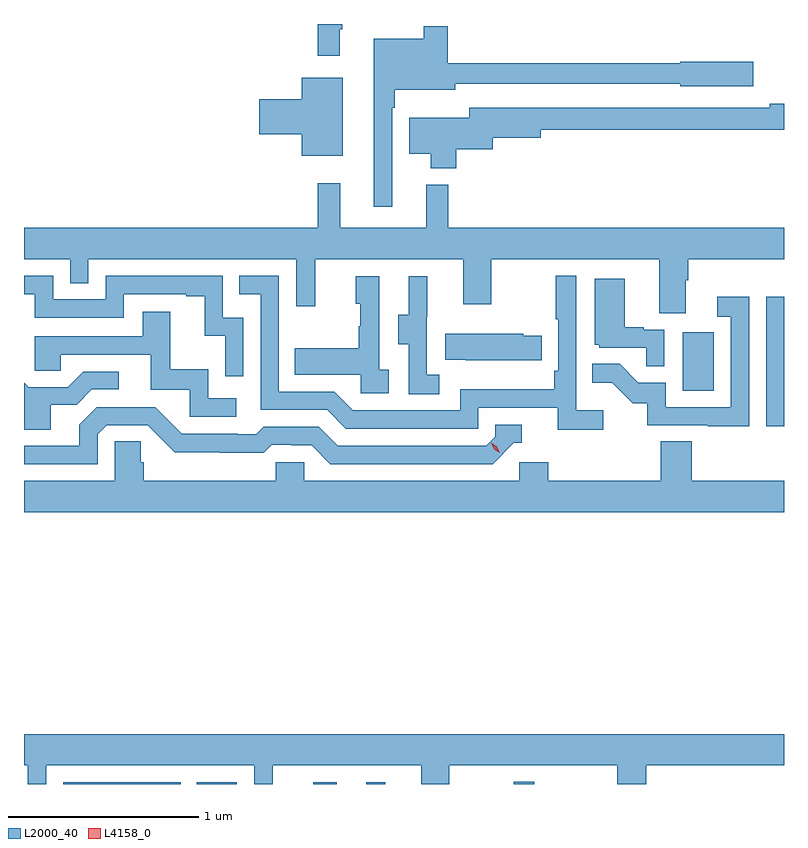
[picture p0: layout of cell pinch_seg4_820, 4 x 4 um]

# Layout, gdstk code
import gdstk
lib = gdstk.Library(unit=1e-6, precision=1e-09)
def R(c, l, rs):  # rectangles x0, y0, x1, y1
    for r in rs: c.add(gdstk.rectangle(r[:2], r[2:], *l))
def P(c, l, *ps):  # polygons
    for p in ps: c.add(gdstk.Polygon(p, *l))
L2000_40 = (2000, 40)
L4158_0 = (4158, 0)

pinch_seg4_820 = lib.new_cell('pinch_seg4_820')
R(pinch_seg4_820, L2000_40, [(817.224,800.717,817.842,800.727), (817.927,800.717,818.136,800.727), (818.54,800.717,818.664,800.725), (818.819,800.717,818.918,800.725), (819.594,800.717,819.702,800.728), (820.923,802.6,821.017,803.281), (820.484,802.788,820.648,803.095)])
P(pinch_seg4_820, L2000_40, [(818.68,804.689),(818.692,804.689),(818.692,804.717),(818.563,804.717),(818.563,804.549),(818.68,804.549)],
  [(818.955,804.275),(818.968,804.275),(818.968,804.371),(819.288,804.371),(819.288,804.402),(820.47,804.402),(820.47,804.389),(820.855,804.389),(820.855,804.519),(820.47,804.519),(820.47,804.511),(819.248,804.511),(819.248,804.706),(819.12,804.706),(819.12,804.64),(818.858,804.64),(818.858,803.754),(818.955,803.754)],
  [(818.695,804.433),(818.48,804.433),(818.48,804.32),(818.256,804.32),(818.256,804.137),(818.48,804.137),(818.48,804.023),(818.695,804.023)],
  [(819.293,804.058),(819.484,804.058),(819.484,804.118),(819.736,804.118),(819.736,804.16),(821.017,804.16),(821.017,804.296),(820.942,804.296),(820.942,804.276),(819.632,804.276),(819.632,804.277),(819.36,804.277),(819.36,804.223),(819.044,804.223),(819.044,804.035),(819.158,804.035),(819.158,803.957),(819.293,803.957)],
  [(820.501,803.368),(820.514,803.368),(820.514,803.48),(821.017,803.48),(821.017,803.644),(819.251,803.644),(819.251,803.872),(819.134,803.872),(819.134,803.644),(818.681,803.644),(818.681,803.878),(818.563,803.878),(818.563,803.644),(817.017,803.644),(817.017,803.48),(817.26,803.48),(817.26,803.353),(817.356,803.353),(817.356,803.48),(818.451,803.48),(818.451,803.232),(818.549,803.232),(818.549,803.48),(819.329,803.48),(819.329,803.241),(819.477,803.241),(819.477,803.48),(820.361,803.48),(820.361,803.194),(820.501,803.194)],
  [(820.066,802.684),(819.924,802.684),(819.924,803.392),(819.816,803.392),(819.816,803.164),(819.828,803.164),(819.828,802.891),(819.808,802.891),(819.808,802.795),(819.312,802.795),(819.312,802.683),(818.748,802.683),(818.649,802.782),(818.358,802.782),(818.358,803.391),(818.149,803.391),(818.149,803.295),(818.262,803.295),(818.262,802.686),(818.612,802.686),(818.711,802.587),(819.408,802.587),(819.408,802.698),(819.827,802.698),(819.827,802.582),(820.066,802.582)],
  [(818.172,803.172),(818.064,803.172),(818.064,803.391),(817.446,803.391),(817.446,803.268),(817.17,803.268),(817.17,803.391),(817.017,803.391),(817.017,803.295),(817.074,803.295),(817.074,803.172),(817.542,803.172),(817.542,803.295),(817.871,803.295),(817.871,803.283),(817.967,803.283),(817.967,803.075),(818.076,803.075),(818.076,802.863),(818.172,802.863)],
  [(818.938,802.898),(818.886,802.898),(818.886,803.389),(818.762,803.389),(818.762,803.244),(818.788,803.244),(818.788,803.126),(818.778,803.126),(818.778,803.011),(818.443,803.011),(818.443,802.871),(818.79,802.871),(818.79,802.773),(818.938,802.773)],
  [(819.202,802.871),(819.138,802.871),(819.138,803.175),(819.14,803.175),(819.14,803.389),(819.041,803.389),(819.041,803.187),(818.987,803.187),(818.987,803.032),(819.042,803.032),(819.042,802.768),(819.202,802.768)],
  [(820.386,803.109),(820.28,803.109),(820.28,803.122),(820.18,803.122),(820.18,803.377),(820.022,803.377),(820.022,803.028),(820.044,803.028),(820.044,803.013),(820.291,803.013),(820.291,802.915),(820.386,802.915)],
  [(820.833,803.281),(820.665,803.281),(820.665,803.175),(820.737,803.175),(820.737,802.701),(820.395,802.701),(820.395,802.83),(820.251,802.83),(820.153,802.928),(820.009,802.928),(820.009,802.829),(820.113,802.829),(820.22,802.722),(820.297,802.722),(820.297,802.605),(820.615,802.605),(820.615,802.6),(820.833,802.6)],
  [(818.134,802.746),(817.986,802.746),(817.986,802.9),(817.787,802.9),(817.787,803.203),(817.643,803.203),(817.643,803.073),(817.074,803.073),(817.074,802.893),(817.211,802.893),(817.211,802.977),(817.685,802.977),(817.685,802.791),(817.89,802.791),(817.89,802.65),(818.134,802.65)],
  [(819.743,803.076),(819.645,803.076),(819.645,803.086),(819.235,803.086),(819.235,802.949),(819.343,802.949),(819.343,802.946),(819.743,802.946)],
  [(817.159,802.714),(817.294,802.714),(817.374,802.794),(817.516,802.794),(817.516,802.887),(817.328,802.887),(817.247,802.806),(817.041,802.806),(817.017,802.83),(817.017,802.686),(817.019,802.684),(817.019,802.582),(817.159,802.582)],
  [(817.404,802.557),(817.452,802.605),(817.668,802.605),(817.81,802.463),(818.046,802.463),(818.046,802.461),(818.279,802.461),(818.321,802.503),(818.424,802.503),(818.424,802.5),(818.531,802.5),(818.63,802.401),(819.483,802.401),(819.594,802.512),(819.637,802.512),(819.637,802.608),(819.498,802.608),(819.498,802.545),(819.45,802.497),(818.667,802.497),(818.568,802.596),(818.279,802.596),(818.24,802.557),(818.141,802.557),(818.141,802.56),(817.848,802.56),(817.707,802.701),(817.401,802.701),(817.307,802.607),(817.307,802.497),(817.017,802.497),(817.017,802.401),(817.404,802.401)],
  [(821.017,802.312),(820.532,802.312),(820.532,802.52),(820.367,802.52),(820.367,802.312),(819.776,802.312),(819.776,802.41),(819.624,802.41),(819.624,802.312),(818.493,802.312),(818.493,802.41),(818.343,802.41),(818.343,802.312),(817.646,802.312),(817.646,802.41),(817.631,802.41),(817.631,802.52),(817.494,802.52),(817.494,802.312),(817.017,802.312),(817.017,802.148),(821.017,802.148)],
  [(817.017,800.816),(817.038,800.816),(817.038,800.717),(817.134,800.717),(817.134,800.816),(818.229,800.816),(818.229,800.717),(818.327,800.717),(818.327,800.816),(819.107,800.816),(819.107,800.717),(819.255,800.717),(819.255,800.816),(820.139,800.816),(820.139,800.717),(820.292,800.717),(820.292,800.816),(821.017,800.816),(821.017,800.98),(817.017,800.98)])
P(pinch_seg4_820, L4158_0, [(819.522,802.46),(819.492,802.479),(819.475,802.512),(819.475,802.512),(819.476,802.512),(819.506,802.493),(819.522,802.46),(819.522,802.46)])

lib.write_gds('pinch_seg4_820.gds')
